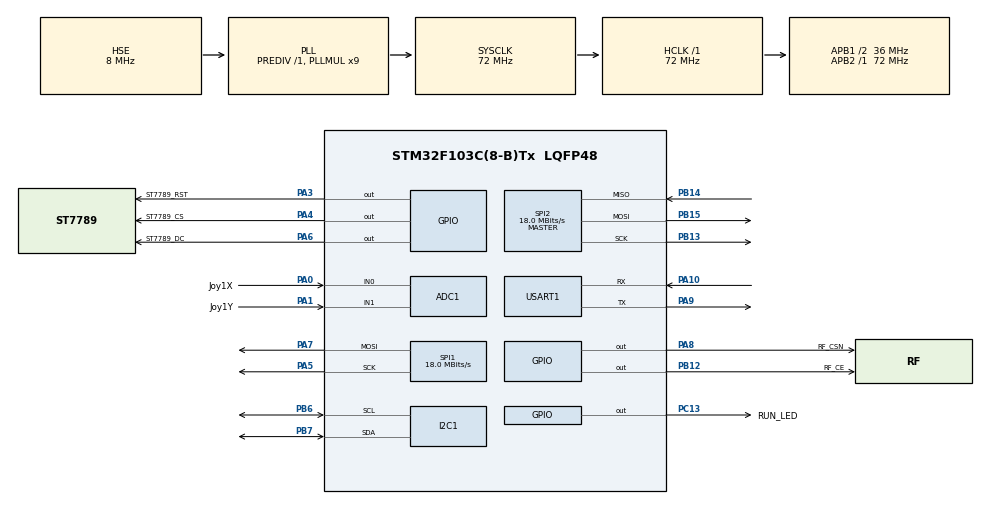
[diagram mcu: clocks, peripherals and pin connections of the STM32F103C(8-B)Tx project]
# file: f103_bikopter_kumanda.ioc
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ADC1.Channel-0\#ChannelRegularConversion=ADC_CHANNEL_0
ADC1.Channel-1\#ChannelRegularConversion=ADC_CHANNEL_1
ADC1.ContinuousConvMode=ENABLE
ADC1.DiscontinuousConvMode=DISABLE
ADC1.NbrOfConversion=2
ADC1.NbrOfConversionFlag=1
ADC1.Rank-0\#ChannelRegularConversion=1
ADC1.Rank-1\#ChannelRegularConversion=2
ADC1.SamplingTime-0\#ChannelRegularConversion=ADC_SAMPLETIME_1CYCLE_5
ADC1.SamplingTime-1\#ChannelRegularConversion=ADC_SAMPLETIME_1CYCLE_5
ADC1.master=1
Dma.Request0=SPI1_TX
Dma.SPI1_TX.0.Direction=DMA_MEMORY_TO_PERIPH
Dma.SPI1_TX.0.Instance=DMA1_Channel3
Dma.SPI1_TX.0.MemDataAlignment=DMA_MDATAALIGN_BYTE
Dma.SPI1_TX.0.MemInc=DMA_MINC_ENABLE
Dma.SPI1_TX.0.Mode=DMA_NORMAL
Dma.SPI1_TX.0.PeriphDataAlignment=DMA_PDATAALIGN_BYTE
Dma.SPI1_TX.0.PeriphInc=DMA_PINC_DISABLE
Dma.SPI1_TX.0.Priority=DMA_PRIORITY_VERY_HIGH
I2C1.I2C_Mode=I2C_Fast
IWDG.Reload=4000
Mcu.Family=STM32F1
Mcu.Name=STM32F103C(8-B)Tx
Mcu.Package=LQFP48
NVIC.DMA1_Channel3_IRQn=true\:0\:0\:false\:false\:true\:false\:true\:true
NVIC.PriorityGroup=NVIC_PRIORITYGROUP_4
PA0-WKUP.GPIO_Label=Joy1X
PA0-WKUP.Signal=ADCx_IN0
PA1.GPIO_Label=Joy1Y
PA1.Signal=ADCx_IN1
PA10.Mode=Asynchronous
PA10.Signal=USART1_RX
PA13.Mode=Serial_Wire
PA13.Signal=SYS_JTMS-SWDIO
PA14.Mode=Serial_Wire
PA14.Signal=SYS_JTCK-SWCLK
PA3.GPIO_Label=ST7789_RST
PA3.GPIO_PuPd=GPIO_PULLDOWN
PA3.Signal=GPIO_Output
PA4.GPIO_Label=ST7789_CS
PA4.GPIO_PuPd=GPIO_PULLDOWN
PA4.Signal=GPIO_Output
PA5.Mode=TX_Only_Simplex_Unidirect_Master
PA5.Signal=SPI1_SCK
PA6.GPIO_Label=ST7789_DC
PA6.GPIO_PuPd=GPIO_PULLDOWN
PA6.Signal=GPIO_Output
PA7.Mode=TX_Only_Simplex_Unidirect_Master
PA7.Signal=SPI1_MOSI
PA8.GPIO_Label=RF_CSN
PA8.GPIO_PuPd=GPIO_PULLUP
PA8.Signal=GPIO_Output
PA9.Mode=Asynchronous
PA9.Signal=USART1_TX
PB12.GPIO_Label=RF_CE
PB12.GPIO_PuPd=GPIO_PULLUP
PB12.Signal=GPIO_Output
PB13.Mode=Full_Duplex_Master
PB13.Signal=SPI2_SCK
PB14.GPIO_PuPd=GPIO_PULLUP
PB14.Mode=Full_Duplex_Master
PB14.Signal=SPI2_MISO
PB15.Mode=Full_Duplex_Master
PB15.Signal=SPI2_MOSI
PB6.Mode=I2C
PB6.Signal=I2C1_SCL
PB7.Mode=I2C
PB7.Signal=I2C1_SDA
PC13-TAMPER-RTC.GPIO_Label=RUN_LED
PC13-TAMPER-RTC.GPIO_PuPd=GPIO_PULLDOWN
PC13-TAMPER-RTC.Signal=GPIO_Output
PD0-OSC_IN.Mode=HSE-External-Oscillator
PD0-OSC_IN.Signal=RCC_OSC_IN
PD1-OSC_OUT.Mode=HSE-External-Oscillator
PD1-OSC_OUT.Signal=RCC_OSC_OUT
ProjectManager.HeapSize=0x200
ProjectManager.StackSize=0x400
ProjectManager.TargetToolchain=STM32CubeIDE
RCC.ADCPresc=RCC_ADCPCLK2_DIV6
RCC.AHBFreq_Value=72000000
RCC.APB1CLKDivider=RCC_HCLK_DIV2
RCC.APB1Freq_Value=36000000
RCC.APB1TimFreq_Value=72000000
RCC.APB2Freq_Value=72000000
RCC.APB2TimFreq_Value=72000000
RCC.HCLKFreq_Value=72000000
RCC.PLLMUL=RCC_PLL_MUL9
RCC.PLLSourceVirtual=RCC_PLLSOURCE_HSE
RCC.SYSCLKFreq_VALUE=72000000
RCC.SYSCLKSource=RCC_SYSCLKSOURCE_PLLCLK
RCC.USBFreq_Value=72000000
SH.ADCx_IN0.0=ADC1_IN0,IN0
SH.ADCx_IN1.0=ADC1_IN1,IN1
SPI1.BaudRatePrescaler=SPI_BAUDRATEPRESCALER_4
SPI1.CLKPolarity=SPI_POLARITY_HIGH
SPI1.CalculateBaudRate=18.0 MBits/s
SPI1.Direction=SPI_DIRECTION_2LINES
SPI1.Mode=SPI_MODE_MASTER
SPI1.VirtualType=VM_MASTER
SPI2.CalculateBaudRate=18.0 MBits/s
SPI2.Direction=SPI_DIRECTION_2LINES
SPI2.Mode=SPI_MODE_MASTER
SPI2.VirtualType=VM_MASTER
USART1.VirtualMode=VM_ASYNC
VP_IWDG_VS_IWDG.Mode=IWDG_Activate
board=custom

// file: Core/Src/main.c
/* USER CODE BEGIN Header */
/**
  ******************************************************************************
  * @file           : main.c
  * @brief          : Main program body
  ******************************************************************************
  * @attention
  *
  * Copyright (c) 2025 STMicroelectronics.
  * All rights reserved.
  *
  * This software is licensed under terms that can be found in the LICENSE file
  * in the root directory of this software component.
  * If no LICENSE file comes with this software, it is provided AS-IS.
  *st7798 de spi veri göndermede problem olursa error_handler a gidecek
  *watch dog eklendi 500ms
  ******************************************************************************
  */
/* USER CODE END Header */
#include "main.h"
#include "adc.h"
#include "dma.h"
#include "i2c.h"
#include "iwdg.h"
#include "spi.h"
#include "usart.h"
#include "gpio.h"

/* USER CODE BEGIN Includes */

#include "mpu6050.h"
#include "fonts.h"
#include "st7789.h"
#include "stdio.h"
#include "math.h"
#include "string.h"
/* USER CODE END Includes */

/* USER CODE BEGIN PTD */
MPU6050_t MPU6050;

typedef struct
{

	float xDerece;
	float yDerece;
	float sicaklik;

	float xOrtalama;
	float yOrtalama;
	float sicaklikOrtalama;

	char xDereceString[14];
	char yDereceString[14];
	char sicaklikString[14];

	uint8_t mpuKontrol;

}mpu6050;

typedef struct
{
	uint32_t zamanlayici;
	uint16_t sayac;
}program;

typedef struct
{
	uint16_t i, ADC_Sonuc[2];
	uint16_t adc1;
	uint16_t adc2;

	char adc1String[14];
	char adc2String[14];

}adcDegiskenleri;

ADC_ChannelConfTypeDef ADC_CH_Cfg = {0};
uint32_t ADC_Kanallari[2] = {ADC_CHANNEL_0,ADC_CHANNEL_1};
uint32_t ADC_RANK[2] = {ADC_REGULAR_RANK_1,ADC_REGULAR_RANK_2};
adcDegiskenleri adc;
mpu6050 mpuDegiskenleri;
program programDegiskenleri;

//uint64_t TxpipeAddrs = 0x11223344AA;
//char kablosuzCanVerisi[32] = "Hello World!";
//char AckPayload[32];

typedef struct
{
	uint64_t TxYolAdresi;

	char kablosuzVeri[32];
	char AckPayload[32];

}nrf24l01_Degiskenler;

nrf24l01_Degiskenler rfDegiskenler;
/* USER CODE END PTD */

/* USER CODE BEGIN PD */
#define durumMakSure 1
#define ortalamaSayisi 100

/* USER CODE END PD */

/* USER CODE BEGIN PM */
void mpuOku(void);
void mpuHesapla(void);
void tftEkranBaslangic(void);
void degiskenDegerSifirla(void);
void tftEkranaYaz(void);
void sistemiAyarla(void);
void adcOku(void);

void uart_ile_gonder(char yazilan[])
{
	HAL_UART_Transmit (&huart1,(uint8_t *) yazilan, strlen(yazilan), 10);
}

/* USER CODE END PM */

/* USER CODE BEGIN PV */
I2C_HandleTypeDef hi2c2;

/* USER CODE END PV */

void SystemClock_Config(void);

int main(void)
{

  /* MCU Configuration--------------------------------------------------------*/

  /* Reset of all peripherals, Initializes the Flash interface and the Systick. */
  HAL_Init();

  /* Configure the system clock */
  SystemClock_Config();

  /* Initialize all configured peripherals */
  MX_GPIO_Init();
  MX_DMA_Init();
  MX_I2C1_Init();
  MX_SPI1_Init();
  MX_ADC1_Init();
  MX_IWDG_Init();
  MX_USART1_UART_Init();
  MX_SPI2_Init();
  /* USER CODE BEGIN 2 */

  //DMA İLE ÇALIŞIYOR.
  ST7789_Init();//Burada DMA ile ÇALIŞIYOR

  tftEkranBaslangic();

  HAL_IWDG_Refresh(&hiwdg);
  sistemiAyarla();
  HAL_IWDG_Refresh(&hiwdg);

  /* USER CODE END 2 */

  /* Infinite loop */
  /* USER CODE BEGIN WHILE */
  while (1)
  {

	  if(HAL_GetTick()-programDegiskenleri.zamanlayici>=durumMakSure)
	  {
		  HAL_IWDG_Refresh(&hiwdg);
		  mpuOku();
		  adcOku();

		  programDegiskenleri.sayac++;
		  programDegiskenleri.zamanlayici=HAL_GetTick();
	  }

	  if(programDegiskenleri.sayac>=ortalamaSayisi)
	  {

		  mpuHesapla();

		  tftEkranaYaz();

		  degiskenDegerSifirla();

	  	  HAL_GPIO_TogglePin(RUN_LED_GPIO_Port, RUN_LED_Pin);

	  	  programDegiskenleri.sayac=0;
	  }
    /* USER CODE END WHILE */

  }
}

void SystemClock_Config(void)
{
  RCC_OscInitTypeDef RCC_OscInitStruct = {0};
  RCC_ClkInitTypeDef RCC_ClkInitStruct = {0};
  RCC_PeriphCLKInitTypeDef PeriphClkInit = {0};

  /** Initializes the RCC Oscillators according to the specified parameters
  * in the RCC_OscInitTypeDef structure.
  */
  RCC_OscInitStruct.OscillatorType = RCC_OSCILLATORTYPE_LSI|RCC_OSCILLATORTYPE_HSE;
  RCC_OscInitStruct.HSEState = RCC_HSE_ON;
  RCC_OscInitStruct.HSEPredivValue = RCC_HSE_PREDIV_DIV1;
  RCC_OscInitStruct.HSIState = RCC_HSI_ON;
  RCC_OscInitStruct.LSIState = RCC_LSI_ON;
  RCC_OscInitStruct.PLL.PLLState = RCC_PLL_ON;
  RCC_OscInitStruct.PLL.PLLSource = RCC_PLLSOURCE_HSE;
  RCC_OscInitStruct.PLL.PLLMUL = RCC_PLL_MUL9;
  if (HAL_RCC_OscConfig(&RCC_OscInitStruct) != HAL_OK)
  {
    Error_Handler();
  }

  /** Initializes the CPU, AHB and APB buses clocks
  */
  RCC_ClkInitStruct.ClockType = RCC_CLOCKTYPE_HCLK|RCC_CLOCKTYPE_SYSCLK
                              |RCC_CLOCKTYPE_PCLK1|RCC_CLOCKTYPE_PCLK2;
  RCC_ClkInitStruct.SYSCLKSource = RCC_SYSCLKSOURCE_PLLCLK;
  RCC_ClkInitStruct.AHBCLKDivider = RCC_SYSCLK_DIV1;
  RCC_ClkInitStruct.APB1CLKDivider = RCC_HCLK_DIV2;
  RCC_ClkInitStruct.APB2CLKDivider = RCC_HCLK_DIV1;

  if (HAL_RCC_ClockConfig(&RCC_ClkInitStruct, FLASH_LATENCY_2) != HAL_OK)
  {
    Error_Handler();
  }
  PeriphClkInit.PeriphClockSelection = RCC_PERIPHCLK_ADC;
  PeriphClkInit.AdcClockSelection = RCC_ADCPCLK2_DIV6;
  if (HAL_RCCEx_PeriphCLKConfig(&PeriphClkInit) != HAL_OK)
  {
    Error_Handler();
  }
}

/* USER CODE BEGIN 4 */
void mpuOku(void)
{
	MPU6050_Read_All(&hi2c1, &MPU6050);

	mpuDegiskenleri.xOrtalama+=MPU6050.KalmanAngleX;
	mpuDegiskenleri.yOrtalama+=MPU6050.KalmanAngleY;
	mpuDegiskenleri.sicaklikOrtalama+=MPU6050.Temperature;
}

void mpuHesapla(void)
{
	mpuDegiskenleri.xDerece=mpuDegiskenleri.xOrtalama/ortalamaSayisi;
	mpuDegiskenleri.yDerece=mpuDegiskenleri.yOrtalama/ortalamaSayisi;
	mpuDegiskenleri.sicaklik=mpuDegiskenleri.sicaklikOrtalama/ortalamaSayisi;
}

void tftEkranBaslangic(void)
{
	//ST7789_Test();//resim felan da çizdirdiği için hafıza hatası veriyor diğer şeyleri kapat bunu açtığında
	HAL_IWDG_Refresh(&hiwdg);
	ST7789_Fill_Color(RED);
	HAL_Delay(100);
	HAL_IWDG_Refresh(&hiwdg);
	ST7789_Fill_Color(BLUE);
	HAL_Delay(100);
	HAL_IWDG_Refresh(&hiwdg);
	ST7789_Fill_Color(GREEN);
	HAL_Delay(100);
	HAL_IWDG_Refresh(&hiwdg);
	ST7789_Fill_Color(YELLOW);
	HAL_Delay(100);
	HAL_IWDG_Refresh(&hiwdg);
	ST7789_Fill_Color(BROWN);
	HAL_Delay(100);
	HAL_IWDG_Refresh(&hiwdg);
	ST7789_Fill_Color(DARKBLUE);
	HAL_Delay(100);
	HAL_IWDG_Refresh(&hiwdg);
	ST7789_Fill_Color(MAGENTA);
	HAL_Delay(100);
	HAL_IWDG_Refresh(&hiwdg);
	ST7789_Fill_Color(LIGHTGREEN);
	HAL_Delay(100);
	HAL_IWDG_Refresh(&hiwdg);
	ST7789_Fill_Color(LGRAY);
	HAL_Delay(100);
	HAL_IWDG_Refresh(&hiwdg);
	ST7789_Fill_Color(LBBLUE);
	HAL_Delay(100);
	HAL_IWDG_Refresh(&hiwdg);
	ST7789_Fill_Color(WHITE);
	HAL_Delay(100);
	HAL_IWDG_Refresh(&hiwdg);
	ST7789_WriteString(20, 120, "Bikopter Kumanda", Font_11x18, RED, WHITE);
	HAL_Delay(200);
	HAL_IWDG_Refresh(&hiwdg);

}

void sistemiAyarla(void)
{
	 mpuDegiskenleri.mpuKontrol=1;
	  while (mpuDegiskenleri.mpuKontrol == 1)
	  {
		  mpuDegiskenleri.mpuKontrol=MPU6050_Init(&hi2c1);

		  if(mpuDegiskenleri.mpuKontrol==1)
		  {
			  ST7789_Fill_Color(RED);
			  ST7789_WriteString(0, 120, "MPU6050 INIT  HATA!!!", Font_16x26, WHITE, RED);
		  }
		  else
		  {
			  ST7789_Fill_Color(GREEN);
			  HAL_Delay(100);
			  ST7789_WriteString(0, 120, "MPU6050 INIT  edildi", Font_16x26, WHITE,RED);
		  }
		  HAL_Delay(100);
	  }

	  adc.i=0;
	  adc.ADC_Sonuc[0]=0;
	  adc.ADC_Sonuc[1]=0;
	  adc.ADC_Sonuc[2]=0;
	  adc.ADC_Sonuc[3]=0;

	  mpuDegiskenleri.xOrtalama=0.0;
	  mpuDegiskenleri.yOrtalama=0.0;

	  mpuDegiskenleri.xDerece=0.0;
	  mpuDegiskenleri.yDerece=0.0;
	  mpuDegiskenleri.sicaklik=0.0;

	  programDegiskenleri.sayac=0;
	  programDegiskenleri.zamanlayici=HAL_GetTick();

}

void adcOku(void)
{
	for(adc.i=0; adc.i<2; adc.i++)
	{
	   	 ADC_CH_Cfg.Rank =  ADC_RANK[adc.i];
	   	 ADC_CH_Cfg.SamplingTime = ADC_SAMPLETIME_1CYCLE_5;
	     ADC_CH_Cfg.Channel = ADC_Kanallari[adc.i];        // ADC Channel [i] seçilir
	     HAL_ADC_ConfigChannel(&hadc1, &ADC_CH_Cfg); // Seçilen ADC Channel ayarları yapılır
	     HAL_ADC_Start(&hadc1);                         // ADC çevrimi ve seçilen kanalın ayarları yapılır
	     HAL_ADC_PollForConversion(&hadc1, 1);         // Poll The ADC Channel With TimeOut = 1mSec
	     adc.ADC_Sonuc[adc.i] = HAL_ADC_GetValue(&hadc1);         // ADC çevrim sonucu okunur.
	 }
	 adc.adc1=adc.ADC_Sonuc[0];
	 adc.adc2=adc.ADC_Sonuc[1];

}

void tftEkranaYaz(void)
{
	 ST7789_Fill_Color(WHITE);
	 sprintf(mpuDegiskenleri.xDereceString,"X Der:%.2f",mpuDegiskenleri.xDerece);
	 ST7789_WriteString(0, 12, mpuDegiskenleri.xDereceString, Font_16x26, BLUE, GREEN);

	 sprintf(mpuDegiskenleri.yDereceString,"Y Der:%.2f",mpuDegiskenleri.yDerece);
	 ST7789_WriteString(0, 50, mpuDegiskenleri.yDereceString, Font_16x26, BLUE, GREEN);

	 sprintf(mpuDegiskenleri.sicaklikString,"Temp:%.2f",mpuDegiskenleri.sicaklik);
	 ST7789_WriteString(0, 88, mpuDegiskenleri.sicaklikString, Font_16x26, BLUE, GREEN);

	 sprintf(adc.adc1String,"ADC1:%d",adc.adc1);
	 ST7789_WriteString(0, 126, adc.adc1String, Font_16x26, BLUE, GREEN);

	 sprintf(adc.adc2String,"ADC2:%d",adc.adc2);
	 ST7789_WriteString(0, 164, adc.adc2String, Font_16x26, BLUE, GREEN);
}

void degiskenDegerSifirla(void)
{
	mpuDegiskenleri.xOrtalama=0.0;
	mpuDegiskenleri.yOrtalama=0.0;
	mpuDegiskenleri.sicaklikOrtalama=0.0;

	for (uint8_t i = 0; i < sizeof(mpuDegiskenleri.sicaklikString); ++i)
	{
		mpuDegiskenleri.sicaklikString[i]=0;
		mpuDegiskenleri.xDereceString[i]=0;
		mpuDegiskenleri.yDereceString[i]=0;

		adc.adc1String[i]=0;
		adc.adc2String[i]=0;

	}
}

/* USER CODE END 4 */

void Error_Handler(void)
{
  /* USER CODE BEGIN Error_Handler_Debug */
  /* User can add his own implementation to report the HAL error return state */
  __disable_irq();
  while (1)
  {
	  HAL_IWDG_Refresh(&hiwdg);
	  HAL_GPIO_TogglePin(RUN_LED_GPIO_Port, RUN_LED_Pin);
	  HAL_Delay(400);

  }
  /* USER CODE END Error_Handler_Debug */
}
